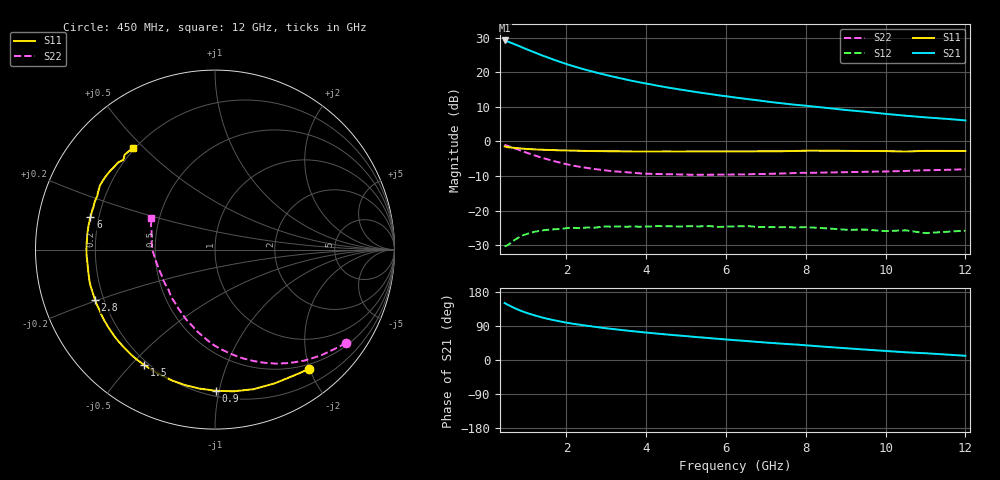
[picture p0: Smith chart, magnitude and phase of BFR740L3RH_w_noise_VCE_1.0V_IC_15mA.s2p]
! (c) 2012  Infineon Technologies AG, Munich
! Infineon Technologies  Discrete & RF Semiconductors
! BFR740L3RH
! VCE =  1.0 V,  IC =  15 mA
! Common Emitter S-Parameters:  May 2012
# GHz  S  MA  R  50
!  f  S11  S21  S12  S22
! GHz  MAG  ANG  MAG  ANG  MAG  ANG  MAG  ANG
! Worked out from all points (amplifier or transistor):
!   85 points, 450 MHz to 12 GHz, reference 50 ohm
!   highest |S21| = 29.2 dB at 450 MHz (marker M1)
!   |S21| within 3 dB of that: start of sweep to 1.103 GHz
!   unconditionally stable (mu >= 1): 7.115 GHz to end of sweep
!   at 1.8 GHz: K = 0.23, MSG = 24.2 dB, |S12| = -25.3 dB
!   at 4.6 GHz: K = 0.62, MSG = 20.0 dB, |S12| = -24.5 dB
!   at 12 GHz: K = 2.03, MAG = 10.1 dB, |S12| = -25.8 dB
!   lowest NFmin = 0.72 dB at 450 MHz
!   S11 on the Smith chart (normalised r, x): 450 MHz: 0.42, -1.99; 900 MHz: 0.24, -0.98; 1.5 GHz: 0.18, -0.54; 2.8 GHz: 0.17, -0.20; 6 GHz: 0.17, +0.12; 12 GHz: 0.19, +0.46
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0.45  0.8459 -51.8  28.7 150.4  0.0307 66.7  0.8969 -35.5
0.6  0.8162 -65.9  26.67 142.0  0.034 55.7  0.834 -45.0
0.7  0.8068 -74.6  25.32 137.0  0.0377 51.3  0.7951 -51.0
0.8  0.7962 -82.5  23.97 132.4  0.0409 47.8  0.7567 -56.6
0.9  0.7868 -89.6  22.68 128.3  0.0439 44.6  0.7208 -61.8
1  0.7792 -96.3  21.48 124.4  0.0459 41.6  0.6874 -66.5
1.2  0.7678 -107.8  19.3 117.8  0.0495 36.1  0.628 -75.2
1.3  0.7623 -112.9  18.3 114.8  0.0508 33.4  0.6015 -79.2
1.5  0.7541 -121.7  16.54 109.4  0.0527 29.8  0.5559 -86.5
1.7  0.7483 -129.4  15.01 104.7  0.0538 26.8  0.5176 -93.1
1.9  0.7424 -136.1  13.7 100.5  0.0548 24.8  0.4831 -98.9
2.1  0.7367 -141.8  12.56 96.8  0.0567 22.2  0.4559 -104.2
2.4  0.7304 -149.2  11.16 92.1  0.0564 19.4  0.4246 -111.6
2.8  0.7245 -157.3  9.698 86.4  0.0576 17.2  0.3932 -119.8
3.6  0.7167 -170.1  7.596 76.7  0.0589 13.2  0.3547 -134.2
4.3  0.7162 -178.4  6.353 69.4  0.0599 10.3  0.3379 -143.6
5.2  0.7167 172.2  5.222 61.1  0.0595 8.5  0.3301 -155.1
6  0.7173 165.5  4.49 54.2  0.0591 6.9  0.3314 -163.7
6.3  0.7179 162.9  4.256 51.7  0.0595 6.4  0.3334 -166.4
8.5  0.7334 146.9  3.056 34.7  0.0556 2.6  0.3554 173.7
10.5  0.7144 135.6  2.35 20.4  0.052 3.8  0.3745 161.4
12  0.7279 128.9  2.011 11.1  0.0514 13.2  0.3959 153.9
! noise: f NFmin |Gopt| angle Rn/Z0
0.45  0.72  0.11  6  0.11
0.9  0.73  0.11  24  0.11
1.5  0.75  0.13  46  0.1
1.9  0.76  0.15  59  0.1
2.4  0.78  0.16  69  0.1
3.5  0.84  0.18  90  0.1
5.5  0.99  0.22  120  0.09
8  1.21  0.28  155  0.08
10  1.39  0.32  -176  0.07
12  1.57  0.35  -150  0.09
